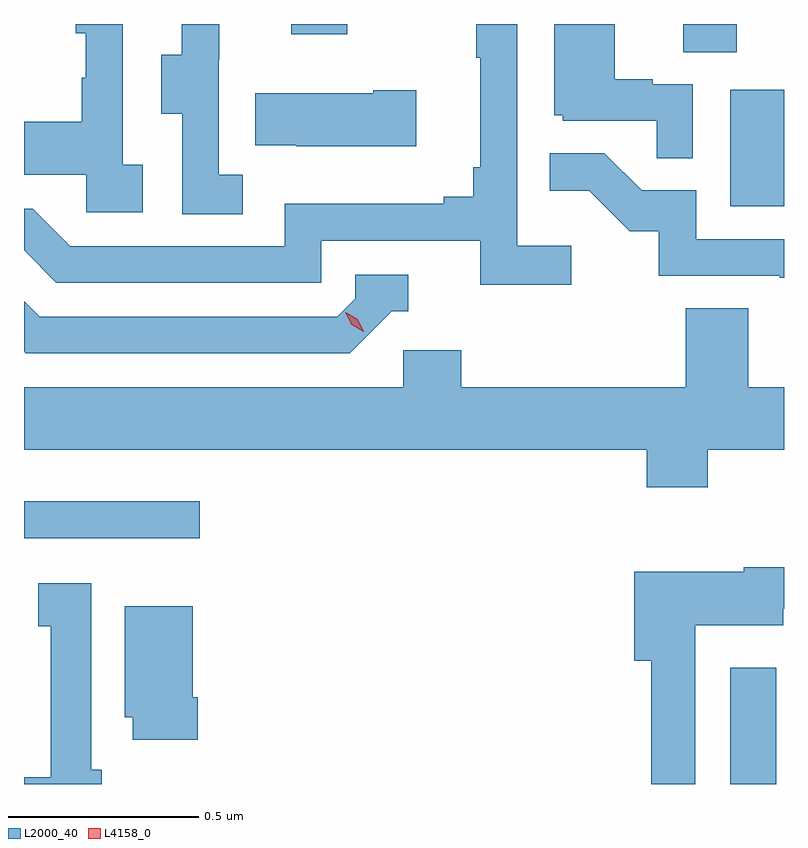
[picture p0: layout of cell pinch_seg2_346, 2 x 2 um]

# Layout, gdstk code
import gdstk
lib = gdstk.Library(unit=1e-6, precision=1e-09)
def R(c, l, rs):  # rectangles x0, y0, x1, y1
    for r in rs: c.add(gdstk.rectangle(r[:2], r[2:], *l))
def P(c, l, *ps):  # polygons
    for p in ps: c.add(gdstk.Polygon(p, *l))
L2000_40 = (2000, 40)
L4158_0 = (4158, 0)

pinch_seg2_346 = lib.new_cell('pinch_seg2_346')
R(pinch_seg2_346, L2000_40, [(987.65,638.764,987.772,639.07), (985.792,639.411,986.254,639.508), (987.65,640.284,987.792,640.591), (987.527,640.69,987.667,640.764), (986.495,640.737,986.643,640.764)])
P(pinch_seg2_346, L2000_40, [(986.104,640.394),(986.052,640.394),(986.052,640.764),(985.928,640.764),(985.928,640.74),(985.954,640.74),(985.954,640.622),(985.944,640.622),(985.944,640.507),(985.792,640.507),(985.792,640.367),(985.956,640.367),(985.956,640.269),(986.104,640.269)],
  [(986.368,640.367),(986.304,640.367),(986.304,640.671),(986.306,640.671),(986.306,640.764),(986.207,640.764),(986.207,640.683),(986.153,640.683),(986.153,640.528),(986.208,640.528),(986.208,640.264),(986.368,640.264)],
  [(987.232,640.18),(987.09,640.18),(987.09,640.764),(986.982,640.764),(986.982,640.675),(986.993,640.675),(986.993,640.387),(986.974,640.387),(986.974,640.31),(986.897,640.31),(986.897,640.291),(986.478,640.291),(986.478,640.179),(985.914,640.179),(985.815,640.278),(985.792,640.278),(985.792,640.168),(985.877,640.083),(986.574,640.083),(986.574,640.194),(986.993,640.194),(986.993,640.078),(987.232,640.078)],
  [(987.552,640.605),(987.446,640.605),(987.446,640.618),(987.346,640.618),(987.346,640.764),(987.188,640.764),(987.188,640.524),(987.21,640.524),(987.21,640.509),(987.457,640.509),(987.457,640.411),(987.552,640.411)],
  [(986.824,640.59),(986.711,640.59),(986.711,640.582),(986.401,640.582),(986.401,640.445),(986.509,640.445),(986.509,640.442),(986.824,640.442)],
  [(987.792,640.197),(987.561,640.197),(987.561,640.326),(987.417,640.326),(987.319,640.424),(987.175,640.424),(987.175,640.325),(987.279,640.325),(987.386,640.218),(987.463,640.218),(987.463,640.101),(987.781,640.101),(987.781,640.096),(987.792,640.096)],
  [(986.76,640.008),(986.803,640.008),(986.803,640.104),(986.664,640.104),(986.664,640.041),(986.616,639.993),(985.833,639.993),(985.792,640.034),(985.792,639.901),(985.796,639.897),(986.649,639.897)],
  [(987.533,640.016),(987.533,639.808),(986.942,639.808),(986.942,639.906),(986.79,639.906),(986.79,639.808),(985.792,639.808),(985.792,639.644),(987.431,639.644),(987.431,639.545),(987.591,639.545),(987.591,639.644),(987.792,639.644),(987.792,639.808),(987.698,639.808),(987.698,640.016)],
  [(987.558,639.182),(987.79,639.182),(987.79,639.225),(987.792,639.225),(987.792,639.334),(987.686,639.334),(987.686,639.322),(987.398,639.322),(987.398,639.089),(987.442,639.089),(987.442,638.764),(987.558,638.764)],
  [(985.996,638.802),(985.969,638.802),(985.969,639.292),(985.829,639.292),(985.829,639.179),(985.862,639.179),(985.862,638.782),(985.792,638.782),(985.792,638.764),(985.996,638.764)],
  [(986.249,638.992),(986.236,638.992),(986.236,639.232),(986.057,639.232),(986.057,638.94),(986.078,638.94),(986.078,638.88),(986.249,638.88)])
P(pinch_seg2_346, L4158_0, [(986.686,639.954),(986.655,639.973),(986.638,640.006),(986.638,640.006),(986.639,640.006),(986.67,639.987),(986.686,639.954),(986.686,639.954)])

lib.write_gds('pinch_seg2_346.gds')
